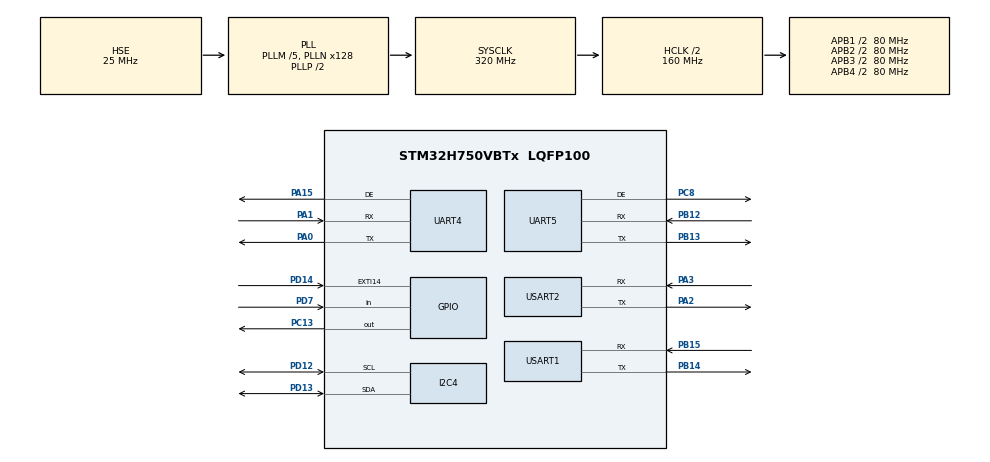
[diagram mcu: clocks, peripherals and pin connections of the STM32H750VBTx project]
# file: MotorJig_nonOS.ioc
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I2C4.Timing=0x10909CEC
Mcu.Family=STM32H7
Mcu.Name=STM32H750VBTx
Mcu.Package=LQFP100
NVIC.EXTI15_10_IRQn=true\:0\:0\:false\:false\:true\:true\:true
NVIC.PriorityGroup=NVIC_PRIORITYGROUP_4
NVIC.TIM6_DAC_IRQn=true\:0\:0\:false\:false\:true\:true\:true
NVIC.TIM7_IRQn=true\:0\:0\:false\:false\:true\:false\:true
NVIC.TimeBase=TIM7_IRQn
NVIC.TimeBaseIP=TIM7
NVIC.UART4_IRQn=true\:0\:0\:false\:false\:true\:true\:true
NVIC.UART5_IRQn=true\:0\:0\:false\:false\:true\:true\:true
NVIC.USART1_IRQn=true\:0\:0\:false\:false\:true\:true\:true
NVIC.USART2_IRQn=true\:0\:0\:false\:false\:true\:true\:true
PA0.Mode=Asynchronous
PA0.Signal=UART4_TX
PA1.Mode=Asynchronous
PA1.Signal=UART4_RX
PA13\ (JTMS/SWDIO).Mode=Serial_Wire
PA13\ (JTMS/SWDIO).Signal=DEBUG_JTMS-SWDIO
PA14\ (JTCK/SWCLK).Mode=Serial_Wire
PA14\ (JTCK/SWCLK).Signal=DEBUG_JTCK-SWCLK
PA15\ (JTDI).Mode=Hardware Flow Control (RS485)
PA15\ (JTDI).Signal=UART4_DE
PA2.Mode=Asynchronous
PA2.Signal=USART2_TX
PA3.Mode=Asynchronous
PA3.Signal=USART2_RX
PB12.Mode=Asynchronous
PB12.Signal=UART5_RX
PB13.Mode=Asynchronous
PB13.Signal=UART5_TX
PB14.Mode=Asynchronous
PB14.Signal=USART1_TX
PB15.Mode=Asynchronous
PB15.Signal=USART1_RX
PC13.PinState=GPIO_PIN_SET
PC13.Signal=GPIO_Output
PC14-OSC32_IN\ (OSC32_IN).Mode=LSE-External-Oscillator
PC14-OSC32_IN\ (OSC32_IN).Signal=RCC_OSC32_IN
PC15-OSC32_OUT\ (OSC32_OUT).Mode=LSE-External-Oscillator
PC15-OSC32_OUT\ (OSC32_OUT).Signal=RCC_OSC32_OUT
PC8.Mode=Hardware Flow Control (RS485)
PC8.Signal=UART5_DE
PD12.Mode=I2C
PD12.Signal=I2C4_SCL
PD13.Mode=I2C
PD13.Signal=I2C4_SDA
PD14.GPIO_ModeDefaultEXTI=GPIO_MODE_IT_FALLING
PD14.GPIO_PuPd=GPIO_PULLUP
PD14.Signal=GPXTI14
PD7.GPIO_PuPd=GPIO_NOPULL
PD7.Signal=GPIO_Input
PH0-OSC_IN\ (PH0).Mode=HSE-External-Oscillator
PH0-OSC_IN\ (PH0).Signal=RCC_OSC_IN
PH1-OSC_OUT\ (PH1).Mode=HSE-External-Oscillator
PH1-OSC_OUT\ (PH1).Signal=RCC_OSC_OUT
ProjectManager.HeapSize=0x1200
ProjectManager.StackSize=0x1400
ProjectManager.TargetToolchain=STM32CubeIDE
RCC.ADCFreq_Value=50390625
RCC.APB1Freq_Value=80000000
RCC.APB2Freq_Value=80000000
RCC.APB3Freq_Value=80000000
RCC.APB4Freq_Value=80000000
RCC.CortexFreq_Value=320000000
RCC.D1PPRE=RCC_APB3_DIV2
RCC.D2PPRE1=RCC_APB1_DIV2
RCC.D2PPRE2=RCC_APB2_DIV2
RCC.D3PPRE=RCC_APB4_DIV2
RCC.DIVM1=5
RCC.DIVN1=128
RCC.HCLKFreq_Value=160000000
RCC.HPRE=RCC_HCLK_DIV2
RCC.PLL2FRACN=0
RCC.PLL3FRACN=0
RCC.PLLFRACN=0
RCC.PLLSourceVirtual=RCC_PLLSOURCE_HSE
RCC.SYSCLKFreq_VALUE=320000000
RCC.SYSCLKSource=RCC_SYSCLKSOURCE_PLLCLK
RCC.USBFreq_Value=320000000
TIM6.Period=1000-1
TIM6.Prescaler=160-1
USART1.VirtualMode-Asynchronous=VM_ASYNC
USART2.VirtualMode-Asynchronous=VM_ASYNC
VP_SYS_VS_tim7.Mode=TIM7
VP_TIM6_VS_ClockSourceINT.Mode=Enable_Timer
board=custom

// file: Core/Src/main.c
/* USER CODE BEGIN Header */
/**
  ******************************************************************************
  * @file           : main.c
  * @brief          : Main program body
  ******************************************************************************
  * @attention
  *
  * <h2><center>&copy; Copyright (c) 2021 STMicroelectronics.
  * All rights reserved.</center></h2>
  *
  * This software component is licensed by ST under BSD 3-Clause license,
  * the "License"; You may not use this file except in compliance with the
  * License. You may obtain a copy of the License at:
  *                        opensource.org/licenses/BSD-3-Clause
  *
  ******************************************************************************
  */
/* USER CODE END Header */
#include "main.h"

/* USER CODE BEGIN Includes */
#include "common.h"
#include "comm.h"
#include "EziStep.h"
#include "Vl53l1x.h"
#include "tmr.h"
/* USER CODE END Includes */

/* USER CODE BEGIN PD */
#define EZISTEP         TRUE
#define VL53L1X         FALSE
#define TEST			FALSE
/* USER CODE END PD */

I2C_HandleTypeDef hi2c4;

TIM_HandleTypeDef htim6;

UART_HandleTypeDef huart4;
UART_HandleTypeDef huart5;
UART_HandleTypeDef huart1;
UART_HandleTypeDef huart2;

void SystemClock_Config(void);
static void MX_GPIO_Init(void);
static void MX_UART4_Init(void);
static void MX_USART2_UART_Init(void);
static void MX_I2C4_Init(void);
static void MX_USART1_UART_Init(void);
static void MX_UART5_Init(void);
static void MX_TIM6_Init(void);
/* USER CODE BEGIN PFP */
void LedOnOff(void* pState);
/* USER CODE END PFP */

/* USER CODE BEGIN 0 */
uint8_t Rx4Data;
uint8_t Rx5Data;

void HAL_UART_RxCpltCallback(UART_HandleTypeDef *huart)
{
 if(huart->Instance == UART4) //From PC <---> MCU
	{
		CommPutRxChar(&RingBuf_EziStep, Rx4Data);
		HAL_UART_Receive_IT(&huart4, &Rx4Data, sizeof(Rx4Data));
	}
 if(huart->Instance == UART5) // MCU <---> Driver
	{
		CommPutRxChar(&RingBuf_EziStep2, Rx5Data);
		HAL_UART_Receive_IT(&huart5, &Rx5Data, sizeof(Rx5Data));
	}
}

volatile int IntCount;
#define isInterrupt 1 /* If isInterrupt = 1 then device working in interrupt mode, else device working in polling mode */
void HAL_GPIO_EXTI_Callback(uint16_t GPIO_Pin)
{
  if (GPIO_Pin == GPIO_PIN_14)
  {
    IntCount++;

  }
}

void LedOnOff(void* pState)
{
  LED_STATE state = *(LED_STATE*) pState;
  if (state == LED_ON)
  {
    HAL_GPIO_TogglePin(GPIOC, GPIO_PIN_13);
  }
}
/* USER CODE END 0 */

int main(void)
{
  /* USER CODE BEGIN 1 */
	uint8_t data_EziStep;
	uint8_t data_EziStep2;

	//address, func, .....  hard coding for test
	uint8_t buf[] = { 0x01, 0x03, 0x4, 0x00, 0x03, 0x00, 0x04, 0xFF, 0xFF };
	uint8_t buf2[] = { 0xaa, 0xcc, 0x01, 0x01, 0x00, 0x14, 0x00 ,0x00, 0xaa, 0xee};

	uint16_t crc16_EziStep;

  /* USER CODE END 1 */

  /* MCU Configuration--------------------------------------------------------*/

  /* Reset of all peripherals, Initializes the Flash interface and the Systick. */
  HAL_Init();

  /* Configure the system clock */
  SystemClock_Config();

  /* Initialize all configured peripherals */
  MX_GPIO_Init();
  MX_UART4_Init();
  MX_USART2_UART_Init();
  MX_I2C4_Init();
  MX_USART1_UART_Init();
  MX_UART5_Init();
  MX_TIM6_Init();
  /* USER CODE BEGIN 2 */
  CommInit(&RingBuf_EziStep);
  CommInit(&RingBuf_EziStep2);

  EziStepInit(&EziStep,  0x01); //0x01 ==> MCU Slave ID default
  //VL53L1XInit();

  /* timer */
  LED_STATE state = LED_ON;
  TmrInit(TmrTbl);
  TmrSetT(TmrTbl, 0, 1000);
  TmrSetFnct(TmrTbl, 0, LedOnOff, &state);
  // TmrStart(TmrTbl, 0);

  HAL_UART_Receive_IT(&huart4, &Rx4Data, sizeof(Rx4Data));
  HAL_UART_Receive_IT(&huart5, &Rx5Data, sizeof(Rx5Data));

  HAL_TIM_Base_Start_IT(&htim6);
  /* USER CODE END 2 */

  /* Infinite loop */
  /* USER CODE BEGIN WHILE */
  while (1)
  {
#if VL53L1X == TRUE
	  //VL53L1XProcessData();
#endif

#if EZISTEP == TRUE
	  if ( CommIsEmpty(&RingBuf_EziStep) == FALSE )
	  {
		  data_EziStep = CommGetRxChar(&RingBuf_EziStep);
		  //HAL_UART_Transmit(&huart4, &data, sizeof(data), 0xFFFFFFFF);
		  EziStepProcessData(&EziStep, data_EziStep);
	  }

	  if ( CommIsEmpty(&RingBuf_EziStep2) == FALSE )
	  {
		  data_EziStep2 = CommGetRxChar(&RingBuf_EziStep2);
		  //HAL_UART_Transmit(&huart4, &data, sizeof(data), 0xFFFFFFFF);
		  EziStepProcessData(&EziStep, data_EziStep2);
	  }

	  if( EziStep.done == TRUE )
	  {
		  EziStep.done = FALSE;

      switch (EziStep.slaveID)
      {
        case 1:
          EziStep.slaveID = 2;
          EziStepSendData(&EziStep);
          break;
        case 2:
          EziStep.slaveID = 1;
          EziStepSendData(&EziStep);
          HAL_GPIO_TogglePin(GPIOC, GPIO_PIN_13);
          break;
      }
		  // crc16_EziStep = EziStepCalCRC16(&buf2[2], 4);
		  // buf2[6]  = (uint8_t)crc16_EziStep;
		  // buf2[7] = (uint8_t)(crc16_EziStep >> 8);
		  // HAL_UART_Transmit(&huart4, buf2, sizeof(buf2), 0xFFFFFFFF);
//		  switch( Modbus.function ){
//		  case 0:
//		  case 1:
//		  case 2:
//		  }
	  }
#endif

#if TEST == TRUE
	  if( HAL_GPIO_ReadPin(GPIOD, GPIO_PIN_7) == GPIO_PIN_RESET){
      HAL_GPIO_yWritePin(GPIOC, GPIO_PIN_13, GPIO_PIN_SET);
	  }
	  else{
		  HAL_GPIO_WritePin(GPIOC, GPIO_PIN_13, GPIO_PIN_RESET);
	  }
#endif

    /* USER CODE END WHILE */

  }
}

void SystemClock_Config(void)
{
  RCC_OscInitTypeDef RCC_OscInitStruct = {0};
  RCC_ClkInitTypeDef RCC_ClkInitStruct = {0};
  RCC_PeriphCLKInitTypeDef PeriphClkInitStruct = {0};

  /** Supply configuration update enable
  */
  HAL_PWREx_ConfigSupply(PWR_LDO_SUPPLY);
  /** Configure the main internal regulator output voltage
  */
  __HAL_PWR_VOLTAGESCALING_CONFIG(PWR_REGULATOR_VOLTAGE_SCALE1);

  while(!__HAL_PWR_GET_FLAG(PWR_FLAG_VOSRDY)) {}
  /** Initializes the RCC Oscillators according to the specified parameters
  * in the RCC_OscInitTypeDef structure.
  */
  RCC_OscInitStruct.OscillatorType = RCC_OSCILLATORTYPE_HSE;
  RCC_OscInitStruct.HSEState = RCC_HSE_ON;
  RCC_OscInitStruct.PLL.PLLState = RCC_PLL_ON;
  RCC_OscInitStruct.PLL.PLLSource = RCC_PLLSOURCE_HSE;
  RCC_OscInitStruct.PLL.PLLM = 5;
  RCC_OscInitStruct.PLL.PLLN = 128;
  RCC_OscInitStruct.PLL.PLLP = 2;
  RCC_OscInitStruct.PLL.PLLQ = 2;
  RCC_OscInitStruct.PLL.PLLR = 2;
  RCC_OscInitStruct.PLL.PLLRGE = RCC_PLL1VCIRANGE_2;
  RCC_OscInitStruct.PLL.PLLVCOSEL = RCC_PLL1VCOWIDE;
  RCC_OscInitStruct.PLL.PLLFRACN = 0;
  if (HAL_RCC_OscConfig(&RCC_OscInitStruct) != HAL_OK)
  {
    Error_Handler();
  }
  /** Initializes the CPU, AHB and APB buses clocks
  */
  RCC_ClkInitStruct.ClockType = RCC_CLOCKTYPE_HCLK|RCC_CLOCKTYPE_SYSCLK
                              |RCC_CLOCKTYPE_PCLK1|RCC_CLOCKTYPE_PCLK2
                              |RCC_CLOCKTYPE_D3PCLK1|RCC_CLOCKTYPE_D1PCLK1;
  RCC_ClkInitStruct.SYSCLKSource = RCC_SYSCLKSOURCE_PLLCLK;
  RCC_ClkInitStruct.SYSCLKDivider = RCC_SYSCLK_DIV1;
  RCC_ClkInitStruct.AHBCLKDivider = RCC_HCLK_DIV2;
  RCC_ClkInitStruct.APB3CLKDivider = RCC_APB3_DIV2;
  RCC_ClkInitStruct.APB1CLKDivider = RCC_APB1_DIV2;
  RCC_ClkInitStruct.APB2CLKDivider = RCC_APB2_DIV2;
  RCC_ClkInitStruct.APB4CLKDivider = RCC_APB4_DIV2;

  if (HAL_RCC_ClockConfig(&RCC_ClkInitStruct, FLASH_LATENCY_2) != HAL_OK)
  {
    Error_Handler();
  }
  PeriphClkInitStruct.PeriphClockSelection = RCC_PERIPHCLK_USART2|RCC_PERIPHCLK_UART4
                              |RCC_PERIPHCLK_USART1|RCC_PERIPHCLK_UART5
                              |RCC_PERIPHCLK_I2C4;
  PeriphClkInitStruct.Usart234578ClockSelection = RCC_USART234578CLKSOURCE_D2PCLK1;
  PeriphClkInitStruct.Usart16ClockSelection = RCC_USART16CLKSOURCE_D2PCLK2;
  PeriphClkInitStruct.I2c4ClockSelection = RCC_I2C4CLKSOURCE_D3PCLK1;
  if (HAL_RCCEx_PeriphCLKConfig(&PeriphClkInitStruct) != HAL_OK)
  {
    Error_Handler();
  }
}

static void MX_I2C4_Init(void)
{

  hi2c4.Instance = I2C4;
  hi2c4.Init.Timing = 0x10909CEC;
  hi2c4.Init.OwnAddress1 = 0;
  hi2c4.Init.AddressingMode = I2C_ADDRESSINGMODE_7BIT;
  hi2c4.Init.DualAddressMode = I2C_DUALADDRESS_DISABLE;
  hi2c4.Init.OwnAddress2 = 0;
  hi2c4.Init.OwnAddress2Masks = I2C_OA2_NOMASK;
  hi2c4.Init.GeneralCallMode = I2C_GENERALCALL_DISABLE;
  hi2c4.Init.NoStretchMode = I2C_NOSTRETCH_DISABLE;
  if (HAL_I2C_Init(&hi2c4) != HAL_OK)
  {
    Error_Handler();
  }
  /** Configure Analogue filter
  */
  if (HAL_I2CEx_ConfigAnalogFilter(&hi2c4, I2C_ANALOGFILTER_ENABLE) != HAL_OK)
  {
    Error_Handler();
  }
  /** Configure Digital filter
  */
  if (HAL_I2CEx_ConfigDigitalFilter(&hi2c4, 0) != HAL_OK)
  {
    Error_Handler();
  }

}

static void MX_TIM6_Init(void)
{

  TIM_MasterConfigTypeDef sMasterConfig = {0};

  htim6.Instance = TIM6;
  htim6.Init.Prescaler = 160-1;
  htim6.Init.CounterMode = TIM_COUNTERMODE_UP;
  htim6.Init.Period = 1000-1;
  htim6.Init.AutoReloadPreload = TIM_AUTORELOAD_PRELOAD_DISABLE;
  if (HAL_TIM_Base_Init(&htim6) != HAL_OK)
  {
    Error_Handler();
  }
  sMasterConfig.MasterOutputTrigger = TIM_TRGO_RESET;
  sMasterConfig.MasterSlaveMode = TIM_MASTERSLAVEMODE_DISABLE;
  if (HAL_TIMEx_MasterConfigSynchronization(&htim6, &sMasterConfig) != HAL_OK)
  {
    Error_Handler();
  }

}

static void MX_UART4_Init(void)
{

  huart4.Instance = UART4;
  huart4.Init.BaudRate = 115200;
  huart4.Init.WordLength = UART_WORDLENGTH_8B;
  huart4.Init.StopBits = UART_STOPBITS_1;
  huart4.Init.Parity = UART_PARITY_NONE;
  huart4.Init.Mode = UART_MODE_TX_RX;
  huart4.Init.HwFlowCtl = UART_HWCONTROL_NONE;
  huart4.Init.OverSampling = UART_OVERSAMPLING_16;
  huart4.Init.OneBitSampling = UART_ONE_BIT_SAMPLE_DISABLE;
  huart4.Init.ClockPrescaler = UART_PRESCALER_DIV1;
  huart4.AdvancedInit.AdvFeatureInit = UART_ADVFEATURE_NO_INIT;
  if (HAL_RS485Ex_Init(&huart4, UART_DE_POLARITY_HIGH, 0, 0) != HAL_OK)
  {
    Error_Handler();
  }
  if (HAL_UARTEx_SetTxFifoThreshold(&huart4, UART_TXFIFO_THRESHOLD_1_8) != HAL_OK)
  {
    Error_Handler();
  }
  if (HAL_UARTEx_SetRxFifoThreshold(&huart4, UART_RXFIFO_THRESHOLD_1_8) != HAL_OK)
  {
    Error_Handler();
  }
  if (HAL_UARTEx_DisableFifoMode(&huart4) != HAL_OK)
  {
    Error_Handler();
  }

}

static void MX_UART5_Init(void)
{

  huart5.Instance = UART5;
  huart5.Init.BaudRate = 115200;
  huart5.Init.WordLength = UART_WORDLENGTH_8B;
  huart5.Init.StopBits = UART_STOPBITS_1;
  huart5.Init.Parity = UART_PARITY_NONE;
  huart5.Init.Mode = UART_MODE_TX_RX;
  huart5.Init.HwFlowCtl = UART_HWCONTROL_NONE;
  huart5.Init.OverSampling = UART_OVERSAMPLING_16;
  huart5.Init.OneBitSampling = UART_ONE_BIT_SAMPLE_DISABLE;
  huart5.Init.ClockPrescaler = UART_PRESCALER_DIV1;
  huart5.AdvancedInit.AdvFeatureInit = UART_ADVFEATURE_NO_INIT;
  if (HAL_RS485Ex_Init(&huart5, UART_DE_POLARITY_HIGH, 0, 0) != HAL_OK)
  {
    Error_Handler();
  }
  if (HAL_UARTEx_SetTxFifoThreshold(&huart5, UART_TXFIFO_THRESHOLD_1_8) != HAL_OK)
  {
    Error_Handler();
  }
  if (HAL_UARTEx_SetRxFifoThreshold(&huart5, UART_RXFIFO_THRESHOLD_1_8) != HAL_OK)
  {
    Error_Handler();
  }
  if (HAL_UARTEx_DisableFifoMode(&huart5) != HAL_OK)
  {
    Error_Handler();
  }

}

static void MX_USART1_UART_Init(void)
{

  huart1.Instance = USART1;
  huart1.Init.BaudRate = 115200;
  huart1.Init.WordLength = UART_WORDLENGTH_8B;
  huart1.Init.StopBits = UART_STOPBITS_1;
  huart1.Init.Parity = UART_PARITY_NONE;
  huart1.Init.Mode = UART_MODE_TX_RX;
  huart1.Init.HwFlowCtl = UART_HWCONTROL_NONE;
  huart1.Init.OverSampling = UART_OVERSAMPLING_16;
  huart1.Init.OneBitSampling = UART_ONE_BIT_SAMPLE_DISABLE;
  huart1.Init.ClockPrescaler = UART_PRESCALER_DIV1;
  huart1.AdvancedInit.AdvFeatureInit = UART_ADVFEATURE_NO_INIT;
  if (HAL_UART_Init(&huart1) != HAL_OK)
  {
    Error_Handler();
  }
  if (HAL_UARTEx_SetTxFifoThreshold(&huart1, UART_TXFIFO_THRESHOLD_1_8) != HAL_OK)
  {
    Error_Handler();
  }
  if (HAL_UARTEx_SetRxFifoThreshold(&huart1, UART_RXFIFO_THRESHOLD_1_8) != HAL_OK)
  {
    Error_Handler();
  }
  if (HAL_UARTEx_DisableFifoMode(&huart1) != HAL_OK)
  {
    Error_Handler();
  }

}

static void MX_USART2_UART_Init(void)
{

  huart2.Instance = USART2;
  huart2.Init.BaudRate = 115200;
  huart2.Init.WordLength = UART_WORDLENGTH_8B;
  huart2.Init.StopBits = UART_STOPBITS_1;
  huart2.Init.Parity = UART_PARITY_NONE;
  huart2.Init.Mode = UART_MODE_TX_RX;
  huart2.Init.HwFlowCtl = UART_HWCONTROL_NONE;
  huart2.Init.OverSampling = UART_OVERSAMPLING_16;
  huart2.Init.OneBitSampling = UART_ONE_BIT_SAMPLE_DISABLE;
  huart2.Init.ClockPrescaler = UART_PRESCALER_DIV1;
  huart2.AdvancedInit.AdvFeatureInit = UART_ADVFEATURE_NO_INIT;
  if (HAL_UART_Init(&huart2) != HAL_OK)
  {
    Error_Handler();
  }
  if (HAL_UARTEx_SetTxFifoThreshold(&huart2, UART_TXFIFO_THRESHOLD_1_8) != HAL_OK)
  {
    Error_Handler();
  }
  if (HAL_UARTEx_SetRxFifoThreshold(&huart2, UART_RXFIFO_THRESHOLD_1_8) != HAL_OK)
  {
    Error_Handler();
  }
  if (HAL_UARTEx_DisableFifoMode(&huart2) != HAL_OK)
  {
    Error_Handler();
  }

}

static void MX_GPIO_Init(void)
{
  GPIO_InitTypeDef GPIO_InitStruct = {0};

  /* GPIO Ports Clock Enable */
  __HAL_RCC_GPIOC_CLK_ENABLE();
  __HAL_RCC_GPIOH_CLK_ENABLE();
  __HAL_RCC_GPIOA_CLK_ENABLE();
  __HAL_RCC_GPIOB_CLK_ENABLE();
  __HAL_RCC_GPIOD_CLK_ENABLE();

  /*Configure GPIO pin Output Level */
  HAL_GPIO_WritePin(GPIOC, GPIO_PIN_13, GPIO_PIN_SET);

  /*Configure GPIO pin : PC13 */
  GPIO_InitStruct.Pin = GPIO_PIN_13;
  GPIO_InitStruct.Mode = GPIO_MODE_OUTPUT_PP;
  GPIO_InitStruct.Pull = GPIO_NOPULL;
  GPIO_InitStruct.Speed = GPIO_SPEED_FREQ_LOW;
  HAL_GPIO_Init(GPIOC, &GPIO_InitStruct);

  /*Configure GPIO pin : PD14 */
  GPIO_InitStruct.Pin = GPIO_PIN_14;
  GPIO_InitStruct.Mode = GPIO_MODE_IT_FALLING;
  GPIO_InitStruct.Pull = GPIO_PULLUP;
  HAL_GPIO_Init(GPIOD, &GPIO_InitStruct);

  /*Configure GPIO pin : PD7 */
  GPIO_InitStruct.Pin = GPIO_PIN_7;
  GPIO_InitStruct.Mode = GPIO_MODE_INPUT;
  GPIO_InitStruct.Pull = GPIO_NOPULL;
  HAL_GPIO_Init(GPIOD, &GPIO_InitStruct);

  /* EXTI interrupt init*/
  HAL_NVIC_SetPriority(EXTI15_10_IRQn, 0, 0);
  HAL_NVIC_EnableIRQ(EXTI15_10_IRQn);

}

 /**
  * @brief  Period elapsed callback in non blocking mode
  * @note   This function is called  when TIM7 interrupt took place, inside
  * HAL_TIM_IRQHandler(). It makes a direct call to HAL_IncTick() to increment
  * a global variable "uwTick" used as application time base.
  * @param  htim : TIM handle
  * @retval None
  */
void HAL_TIM_PeriodElapsedCallback(TIM_HandleTypeDef *htim)
{
  if (htim->Instance == TIM7) {
    HAL_IncTick();
  }
  /* USER CODE BEGIN Callback 1 */
  if (htim->Instance == TIM6) {
	  TmrTask(TmrTbl);
  }
  /* USER CODE END Callback 1 */
}

void Error_Handler(void)
{
  __disable_irq();
  while (1)
  {
  }
}

/************************ (C) COPYRIGHT STMicroelectronics *****END OF FILE****/
